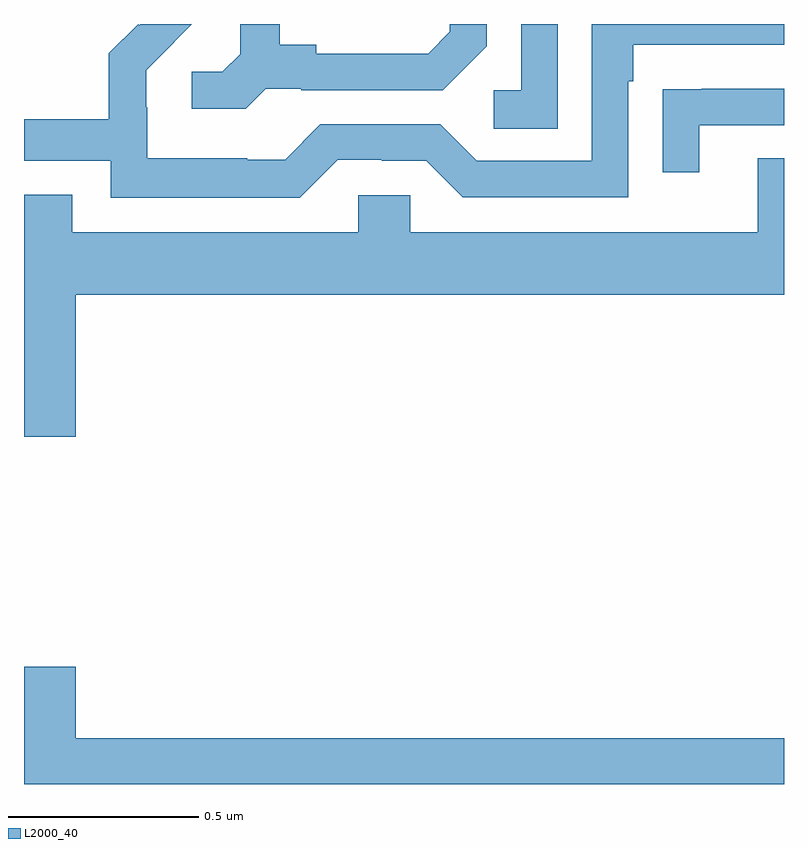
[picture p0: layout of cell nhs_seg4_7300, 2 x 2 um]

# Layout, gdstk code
import gdstk
lib = gdstk.Library(unit=1e-6, precision=1e-09)
def P(c, l, *ps):  # polygons
    for p in ps: c.add(gdstk.Polygon(p, *l))
L2000_40 = (2000, 40)

nhs_seg4_7300 = lib.new_cell('nhs_seg4_7300')
P(nhs_seg4_7300, L2000_40, [(201.636,762.729),(201.73,762.729),(201.73,762.726),(202.102,762.726),(202.218,762.842),(202.218,762.9),(202.121,762.9),(202.121,762.879),(202.064,762.822),(201.769,762.822),(201.769,762.845),(201.673,762.845),(201.673,762.9),(201.569,762.9),(201.569,762.821),(201.522,762.774),(201.441,762.774),(201.441,762.677),(201.584,762.677)],
  [(201.825,762.543),(201.941,762.543),(201.941,762.54),(202.059,762.54),(202.155,762.444),(202.59,762.444),(202.59,762.749),(202.603,762.749),(202.603,762.846),(203,762.846),(203,762.9),(202.494,762.9),(202.494,762.54),(202.191,762.54),(202.095,762.636),(201.78,762.636),(201.687,762.543),(201.587,762.543),(201.587,762.547),(201.324,762.547),(201.324,762.681),(201.322,762.681),(201.322,762.778),(201.396,762.852),(201.395,762.853),(201.442,762.9),(201.306,762.9),(201.303,762.897),(201.3,762.9),(201.223,762.823),(201.223,762.649),(201,762.649),(201,762.54),(201.228,762.54),(201.228,762.443),(201.725,762.443)],
  [(202.404,762.9),(202.308,762.9),(202.308,762.726),(202.236,762.726),(202.236,762.625),(202.404,762.625)],
  [(202.777,762.633),(203,762.633),(203,762.729),(202.783,762.729),(202.783,762.728),(202.681,762.728),(202.681,762.51),(202.777,762.51)],
  [(201.136,762.188),(203,762.188),(203,762.547),(202.931,762.547),(202.931,762.352),(202.017,762.352),(202.017,762.45),(201.879,762.45),(201.879,762.352),(201.127,762.352),(201.127,762.451),(201,762.451),(201,761.814),(201.136,761.814)],
  [(203,761.02),(201.136,761.02),(201.136,761.209),(201,761.209),(201,760.9),(203,760.9)])

lib.write_gds('nhs_seg4_7300.gds')
